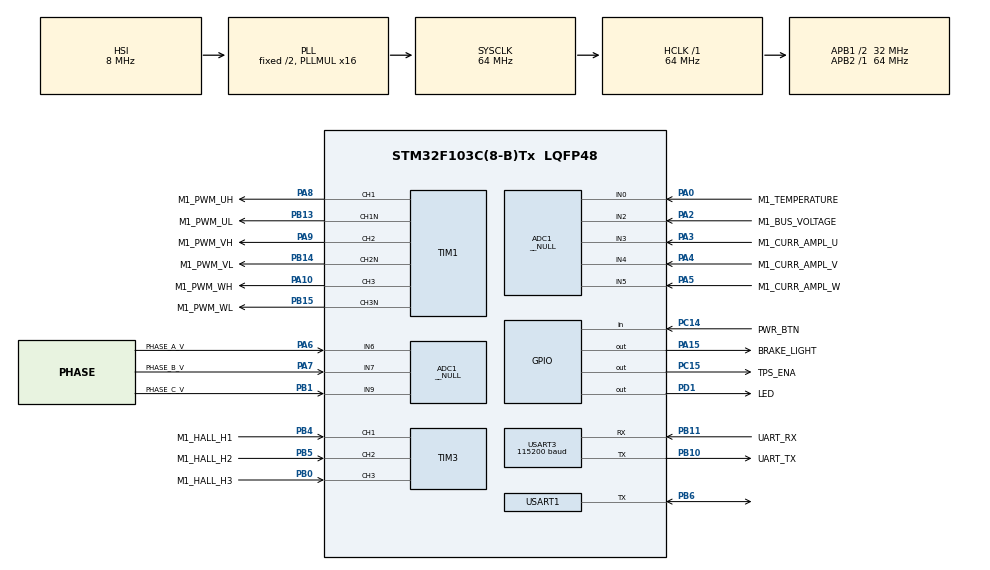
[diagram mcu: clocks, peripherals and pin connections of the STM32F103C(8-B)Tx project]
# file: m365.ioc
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ADC1.Channel-1\#ChannelInjectedConversion=ADC_CHANNEL_3
ADC1.Channel-1\#ChannelRegularConversion=ADC_CHANNEL_2
ADC1.Channel-2\#ChannelInjectedConversion=ADC_CHANNEL_4
ADC1.Channel-2\#ChannelRegularConversion=ADC_CHANNEL_0
ADC1.Channel-3\#ChannelInjectedConversion=ADC_CHANNEL_5
ADC1.Channel-4\#ChannelRegularConversion=ADC_CHANNEL_6
ADC1.Channel-5\#ChannelRegularConversion=ADC_CHANNEL_7
ADC1.Channel-6\#ChannelRegularConversion=ADC_CHANNEL_9
ADC1.ContinuousConvMode=DISABLE
ADC1.DataAlign=ADC_DATAALIGN_LEFT
ADC1.DiscontinuousConvMode=DISABLE
ADC1.EnableAnalogWatchDog=false
ADC1.EnableInjectedConversion=ENABLE
ADC1.EnableRegularConversion=ENABLE
ADC1.ExternalTrigConv=ADC_SOFTWARE_START
ADC1.ExternalTrigInjecConv=ADC_EXTERNALTRIGINJECCONV_T1_CC4
ADC1.InjNumberOfConversion=3
ADC1.InjectedConvMode=Discontinuous
ADC1.InjectedOffset-1\#ChannelInjectedConversion=0
ADC1.InjectedOffset-2\#ChannelInjectedConversion=0
ADC1.InjectedOffset-3\#ChannelInjectedConversion=0
ADC1.Mode=__NULL
ADC1.NbrOfConversion=5
ADC1.NbrOfConversionFlag=1
ADC1.Rank-1\#ChannelRegularConversion=1
ADC1.Rank-2\#ChannelRegularConversion=2
ADC1.Rank-4\#ChannelRegularConversion=3
ADC1.Rank-5\#ChannelRegularConversion=4
ADC1.Rank-6\#ChannelRegularConversion=5
ADC1.SamplingTime-1\#ChannelInjectedConversion=ADC_SAMPLETIME_1CYCLE_5
ADC1.SamplingTime-1\#ChannelRegularConversion=ADC_SAMPLETIME_1CYCLE_5
ADC1.SamplingTime-2\#ChannelInjectedConversion=ADC_SAMPLETIME_1CYCLE_5
ADC1.SamplingTime-2\#ChannelRegularConversion=ADC_SAMPLETIME_1CYCLE_5
ADC1.SamplingTime-3\#ChannelInjectedConversion=ADC_SAMPLETIME_1CYCLE_5
ADC1.SamplingTime-4\#ChannelRegularConversion=ADC_SAMPLETIME_1CYCLE_5
ADC1.SamplingTime-5\#ChannelRegularConversion=ADC_SAMPLETIME_1CYCLE_5
ADC1.SamplingTime-6\#ChannelRegularConversion=ADC_SAMPLETIME_1CYCLE_5
ADC1.ScanConvMode=ADC_SCAN_ENABLE
ADC1.master=1
ADC2.Channel-1\#ChannelInjectedConversion=ADC_CHANNEL_3
ADC2.Channel-2\#ChannelInjectedConversion=ADC_CHANNEL_4
ADC2.Channel-3\#ChannelInjectedConversion=ADC_CHANNEL_5
ADC2.ContinuousConvMode=DISABLE
ADC2.DataAlign=ADC_DATAALIGN_LEFT
ADC2.DiscontinuousConvMode=DISABLE
ADC2.EnableAnalogWatchDog=false
ADC2.EnableInjectedConversion=ENABLE
ADC2.EnableRegularConversion=DISABLE
ADC2.ExternalTrigInjecConv=ADC_EXTERNALTRIGINJECCONV_T1_CC4
ADC2.ExternalTrigInjecConvEdge=ADC_EXTERNALTRIGINJECCONVEDGE_RISING
ADC2.InjNumberOfConversion=3
ADC2.InjectedConvMode=Discontinuous
ADC2.InjectedOffset-1\#ChannelInjectedConversion=0
ADC2.InjectedOffset-2\#ChannelInjectedConversion=0
ADC2.InjectedOffset-3\#ChannelInjectedConversion=0
ADC2.Mode=__NULL
ADC2.Rank-1\#ChannelInjectedConversion=1
ADC2.Rank-2\#ChannelInjectedConversion=2
ADC2.Rank-3\#ChannelInjectedConversion=3
ADC2.SamplingTime-1\#ChannelInjectedConversion=ADC_SAMPLETIME_1CYCLE_5
ADC2.SamplingTime-2\#ChannelInjectedConversion=ADC_SAMPLETIME_1CYCLE_5
ADC2.SamplingTime-3\#ChannelInjectedConversion=ADC_SAMPLETIME_1CYCLE_5
ADC2.ScanConvMode=ADC_SCAN_ENABLE
Dma.ADC1.0.Direction=DMA_PERIPH_TO_MEMORY
Dma.ADC1.0.Instance=DMA1_Channel1
Dma.ADC1.0.MemDataAlignment=DMA_MDATAALIGN_HALFWORD
Dma.ADC1.0.MemInc=DMA_MINC_DISABLE
Dma.ADC1.0.Mode=DMA_CIRCULAR
Dma.ADC1.0.PeriphDataAlignment=DMA_PDATAALIGN_HALFWORD
Dma.ADC1.0.PeriphInc=DMA_PINC_DISABLE
Dma.ADC1.0.Priority=DMA_PRIORITY_LOW
Dma.Request0=ADC1
Dma.Request1=USART1_TX
Dma.Request2=USART1_RX
Dma.Request3=USART3_RX
Dma.Request4=USART3_TX
Dma.USART1_RX.2.Direction=DMA_PERIPH_TO_MEMORY
Dma.USART1_RX.2.Instance=DMA1_Channel5
Dma.USART1_RX.2.MemDataAlignment=DMA_MDATAALIGN_BYTE
Dma.USART1_RX.2.MemInc=DMA_MINC_ENABLE
Dma.USART1_RX.2.Mode=DMA_CIRCULAR
Dma.USART1_RX.2.PeriphDataAlignment=DMA_PDATAALIGN_BYTE
Dma.USART1_RX.2.PeriphInc=DMA_PINC_DISABLE
Dma.USART1_RX.2.Priority=DMA_PRIORITY_LOW
Dma.USART1_TX.1.Direction=DMA_MEMORY_TO_PERIPH
Dma.USART1_TX.1.Instance=DMA1_Channel4
Dma.USART1_TX.1.MemDataAlignment=DMA_MDATAALIGN_BYTE
Dma.USART1_TX.1.MemInc=DMA_MINC_ENABLE
Dma.USART1_TX.1.Mode=DMA_NORMAL
Dma.USART1_TX.1.PeriphDataAlignment=DMA_PDATAALIGN_BYTE
Dma.USART1_TX.1.PeriphInc=DMA_PINC_DISABLE
Dma.USART1_TX.1.Priority=DMA_PRIORITY_LOW
Dma.USART3_RX.3.Direction=DMA_PERIPH_TO_MEMORY
Dma.USART3_RX.3.Instance=DMA1_Channel3
Dma.USART3_RX.3.MemDataAlignment=DMA_MDATAALIGN_BYTE
Dma.USART3_RX.3.MemInc=DMA_MINC_ENABLE
Dma.USART3_RX.3.Mode=DMA_CIRCULAR
Dma.USART3_RX.3.PeriphDataAlignment=DMA_PDATAALIGN_BYTE
Dma.USART3_RX.3.PeriphInc=DMA_PINC_DISABLE
Dma.USART3_RX.3.Priority=DMA_PRIORITY_LOW
Dma.USART3_TX.4.Direction=DMA_MEMORY_TO_PERIPH
Dma.USART3_TX.4.Instance=DMA1_Channel2
Dma.USART3_TX.4.MemDataAlignment=DMA_MDATAALIGN_BYTE
Dma.USART3_TX.4.MemInc=DMA_MINC_ENABLE
Dma.USART3_TX.4.Mode=DMA_NORMAL
Dma.USART3_TX.4.PeriphDataAlignment=DMA_PDATAALIGN_BYTE
Dma.USART3_TX.4.PeriphInc=DMA_PINC_DISABLE
Dma.USART3_TX.4.Priority=DMA_PRIORITY_LOW
Mcu.Family=STM32F1
Mcu.Name=STM32F103C(8-B)Tx
Mcu.Package=LQFP48
NVIC.ADC1_2_IRQn=true\:2\:0\:true\:true\:false\:1\:true\:true
NVIC.DMA1_Channel1_IRQn=true\:0\:0\:true\:true\:false\:4\:true\:true
NVIC.DMA1_Channel2_IRQn=true\:5\:0\:true\:false\:true\:false\:true
NVIC.DMA1_Channel3_IRQn=true\:5\:0\:true\:false\:true\:false\:true
NVIC.DMA1_Channel4_IRQn=true\:5\:0\:true\:false\:true\:false\:true
NVIC.DMA1_Channel5_IRQn=true\:5\:0\:true\:false\:true\:false\:true
NVIC.PriorityGroup=NVIC_PRIORITYGROUP_4
NVIC.TIM1_BRK_IRQn=true\:4\:0\:true\:true\:false\:3\:true\:true
NVIC.TIM1_UP_IRQn=true\:0\:0\:true\:true\:false\:2\:true\:true
NVIC.TIM3_IRQn=true\:3\:0\:true\:true\:false\:5\:true\:true
NVIC.TIM4_IRQn=true\:15\:0\:false\:false\:true\:false\:true
NVIC.TimeBase=TIM4_IRQn
NVIC.TimeBaseIP=TIM4
PA0-WKUP.GPIO_Label=M1_TEMPERATURE
PA0-WKUP.Signal=ADCx_IN0
PA10.GPIO_Label=M1_PWM_WH
PA10.GPIO_PuPd=GPIO_PULLDOWN
PA10.GPIO_Speed=GPIO_SPEED_FREQ_HIGH
PA10.Signal=S_TIM1_CH3
PA13.Mode=Serial_Wire
PA13.Signal=SYS_JTMS-SWDIO
PA14.Mode=Serial_Wire
PA14.Signal=SYS_JTCK-SWCLK
PA15.GPIO_Label=BRAKE_LIGHT
PA15.GPIO_ModeDefaultOutputPP=GPIO_MODE_OUTPUT_OD
PA15.Signal=GPIO_Output
PA2.GPIO_Label=M1_BUS_VOLTAGE
PA2.Signal=ADCx_IN2
PA3.GPIO_Label=M1_CURR_AMPL_U
PA3.Signal=SharedAnalog_PA3
PA4.GPIO_Label=M1_CURR_AMPL_V
PA4.Signal=SharedAnalog_PA4
PA5.GPIO_Label=M1_CURR_AMPL_W
PA5.Signal=SharedAnalog_PA5
PA6.GPIO_Label=PHASE_A_V
PA6.Signal=ADCx_IN6
PA7.GPIO_Label=PHASE_B_V
PA7.Signal=ADCx_IN7
PA8.GPIO_Label=M1_PWM_UH
PA8.GPIO_PuPd=GPIO_PULLDOWN
PA8.GPIO_Speed=GPIO_SPEED_FREQ_HIGH
PA8.Signal=S_TIM1_CH1
PA9.GPIO_Label=M1_PWM_VH
PA9.GPIO_PuPd=GPIO_PULLDOWN
PA9.GPIO_Speed=GPIO_SPEED_FREQ_HIGH
PA9.Signal=S_TIM1_CH2
PB0.GPIO_Label=M1_HALL_H3
PB0.GPIO_Speed=GPIO_SPEED_FREQ_HIGH
PB0.Signal=S_TIM3_CH3
PB1.GPIO_Label=PHASE_C_V
PB1.Signal=ADCx_IN9
PB10.GPIO_Label=UART_TX
PB10.GPIO_Mode=GPIO_MODE_AF_PP
PB10.GPIO_PuPd=GPIO_NOPULL
PB10.GPIO_Speed=GPIO_SPEED_FREQ_LOW
PB10.Mode=Asynchronous
PB10.Signal=USART3_TX
PB11.GPIO_Label=UART_RX
PB11.GPIO_Mode=GPIO_MODE_INPUT
PB11.GPIO_PuPd=GPIO_NOPULL
PB11.GPIO_Speed=GPIO_SPEED_FREQ_LOW
PB11.Mode=Asynchronous
PB11.Signal=USART3_RX
PB13.GPIO_Label=M1_PWM_UL
PB13.GPIO_PuPd=GPIO_PULLDOWN
PB13.GPIO_Speed=GPIO_SPEED_FREQ_HIGH
PB13.Mode=PWM Generation1 CH1 CH1N
PB13.Signal=TIM1_CH1N
PB14.GPIO_Label=M1_PWM_VL
PB14.GPIO_PuPd=GPIO_PULLDOWN
PB14.GPIO_Speed=GPIO_SPEED_FREQ_HIGH
PB14.Mode=PWM Generation2 CH2 CH2N
PB14.Signal=TIM1_CH2N
PB15.GPIO_Label=M1_PWM_WL
PB15.GPIO_PuPd=GPIO_PULLDOWN
PB15.GPIO_Speed=GPIO_SPEED_FREQ_HIGH
PB15.Mode=PWM Generation3 CH3 CH3N
PB15.Signal=TIM1_CH3N
PB4.GPIO_Label=M1_HALL_H1
PB4.GPIO_Speed=GPIO_SPEED_FREQ_HIGH
PB4.Signal=S_TIM3_CH1
PB5.GPIO_Label=M1_HALL_H2
PB5.GPIO_Speed=GPIO_SPEED_FREQ_HIGH
PB5.Signal=S_TIM3_CH2
PB6.Mode=Half_duplex(single_wire_mode)
PB6.Signal=USART1_TX
PC14-OSC32_IN.GPIO_Label=PWR_BTN
PC14-OSC32_IN.Signal=GPIO_Input
PC15-OSC32_OUT.GPIO_Label=TPS_ENA
PC15-OSC32_OUT.PinState=GPIO_PIN_SET
PC15-OSC32_OUT.Signal=GPIO_Output
PD1-OSC_OUT.GPIO_Label=LED
PD1-OSC_OUT.Signal=GPIO_Output
ProjectManager.HeapSize=0x200
ProjectManager.StackSize=0x400
ProjectManager.TargetToolchain=STM32CubeIDE
RCC.ADCPresc=RCC_ADCPCLK2_DIV6
RCC.AHBFreq_Value=64000000
RCC.APB1CLKDivider=RCC_HCLK_DIV2
RCC.APB1Freq_Value=32000000
RCC.APB1TimFreq_Value=64000000
RCC.APB2Freq_Value=64000000
RCC.APB2TimFreq_Value=64000000
RCC.EnbaleCSS=true
RCC.HCLKFreq_Value=64000000
RCC.PLLMUL=RCC_PLL_MUL16
RCC.RTCClockSelection=RCC_RTCCLKSOURCE_LSI
RCC.SYSCLKFreq_VALUE=64000000
RCC.SYSCLKSource=RCC_SYSCLKSOURCE_PLLCLK
RCC.USBFreq_Value=64000000
SH.ADCx_IN0.0=ADC1_IN0,IN0
SH.ADCx_IN2.0=ADC1_IN2,IN2
SH.ADCx_IN6.0=ADC1_IN6,IN6
SH.ADCx_IN7.0=ADC1_IN7,IN7
SH.ADCx_IN9.0=ADC1_IN9,IN9
SH.S_TIM1_CH1.0=TIM1_CH1,PWM Generation1 CH1 CH1N
SH.S_TIM1_CH2.0=TIM1_CH2,PWM Generation2 CH2 CH2N
SH.S_TIM1_CH3.0=TIM1_CH3,PWM Generation3 CH3 CH3N
SH.S_TIM3_CH1.0=TIM3_CH1,Xored_Inputs_Hall_Sensor_Interface
SH.S_TIM3_CH2.0=TIM3_CH2,Xored_Inputs_Hall_Sensor_Interface
SH.S_TIM3_CH3.0=TIM3_CH3,Xored_Inputs_Hall_Sensor_Interface
SH.SharedAnalog_PA3.0=ADC1_IN3,IN3
SH.SharedAnalog_PA3.1=ADC2_IN3,IN3
SH.SharedAnalog_PA4.0=ADC1_IN4,IN4
SH.SharedAnalog_PA4.1=ADC2_IN4,IN4
SH.SharedAnalog_PA5.0=ADC1_IN5,IN5
SH.SharedAnalog_PA5.1=ADC2_IN5,IN5
TIM1.AutomaticOutput=TIM_AUTOMATICOUTPUT_DISABLE
TIM1.BreakPolarity=TIM_BREAKPOLARITY_LOW
TIM1.BreakState=TIM_BREAK_DISABLE
TIM1.Channel-PWM\ Generation1\ CH1\ CH1N=TIM_CHANNEL_1
TIM1.Channel-PWM\ Generation2\ CH2\ CH2N=TIM_CHANNEL_2
TIM1.Channel-PWM\ Generation3\ CH3\ CH3N=TIM_CHANNEL_3
TIM1.Channel-PWM\ Generation4\ No\ Output=TIM_CHANNEL_4
TIM1.ClockDivision=TIM_CLOCKDIVISION_DIV2
TIM1.CounterMode=TIM_COUNTERMODE_CENTERALIGNED1
TIM1.DeadTime=((DEAD_TIME_COUNTS) / 2)
TIM1.LockLevel=TIM_LOCKLEVEL_1
TIM1.OCIdleState_1=TIM_OCIDLESTATE_RESET
TIM1.OCIdleState_2=TIM_OCIDLESTATE_RESET
TIM1.OCIdleState_3=TIM_OCIDLESTATE_RESET
TIM1.OCMode_PWM-PWM\ Generation4\ No\ Output=TIM_OCMODE_PWM2
TIM1.OCNIdleState_1=TIM_OCNIDLESTATE_RESET
TIM1.OCNIdleState_2=TIM_OCNIDLESTATE_RESET
TIM1.OCNIdleState_3=TIM_OCNIDLESTATE_RESET
TIM1.OCNPolarity_1=TIM_OCNPOLARITY_HIGH
TIM1.OCNPolarity_2=TIM_OCNPOLARITY_HIGH
TIM1.OCNPolarity_3=TIM_OCNPOLARITY_HIGH
TIM1.OCPolarity_1=TIM_OCPOLARITY_HIGH
TIM1.OCPolarity_2=TIM_OCPOLARITY_HIGH
TIM1.OCPolarity_3=TIM_OCPOLARITY_HIGH
TIM1.OffStateIDLEMode=TIM_OSSI_ENABLE
TIM1.OffStateRunMode=TIM_OSSR_ENABLE
TIM1.Period=((PWM_PERIOD_CYCLES) / 2)
TIM1.Prescaler=((TIM_CLOCK_DIVIDER) - 1)
TIM1.Pulse-PWM\ Generation1\ CH1=((PWM_PERIOD_CYCLES) / 4)
TIM1.Pulse-PWM\ Generation2\ CH2=((PWM_PERIOD_CYCLES) / 4)
TIM1.Pulse-PWM\ Generation3\ CH3=((PWM_PERIOD_CYCLES) / 4)
TIM1.Pulse-PWM\ Generation4\ No\ Output=(((PWM_PERIOD_CYCLES) / 2) - (HTMIN))
TIM1.RepetitionCounter=(REP_COUNTER)
TIM1.TIM_MasterOutputTrigger=TIM_TRGO_RESET
TIM1.TIM_MasterSlaveMode=TIM_MASTERSLAVEMODE_DISABLE
TIM3.IC1Filter=M1_HALL_IC_FILTER
TIM3.Period=M1_HALL_TIM_PERIOD
USART1.VirtualMode=VM_ASYNC
USART3.BaudRate=115200
USART3.VirtualMode=VM_ASYNC
USART3.VirtualMode-Asynchronous=VM_ASYNC
USART3.WordLength=WORDLENGTH_8B
VP_SYS_VS_tim4.Mode=TIM4
VP_TIM1_VS_ClockSourceITR.Mode=TriggerSource_ITR1
VP_TIM1_VS_ControllerModeTrigger.Mode=Trigger Mode
VP_TIM1_VS_no_output4.Mode=PWM Generation4 No Output
VP_TIM3_VS_ClockSourceINT.Mode=Internal
board=custom

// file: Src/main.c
/* USER CODE BEGIN Header */
/**
  ******************************************************************************
  * @file           : main.c
  * @brief          : Main program body
  ******************************************************************************
  * @attention
  *
  * <h2><center>&copy; Copyright (c) 2021 STMicroelectronics.
  * All rights reserved.</center></h2>
  *
  * This software component is licensed by ST under Ultimate Liberty license
  * SLA0044, the "License"; You may not use this file except in compliance with
  * the License. You may obtain a copy of the License at:
  *                             www.st.com/SLA0044
  *
  ******************************************************************************
  */
/* USER CODE END Header */
#include "main.h"

/* USER CODE BEGIN Includes */
#include "cmsis_os.h"
#include "FreeRTOS.h"
#include "task.h"
#include "task_init.h"
#include "motorcontrol.h"
#include "conf_general.h"
#include "app.h"
#include "product.h"

/* USER CODE END Includes */

ADC_HandleTypeDef hadc1;
ADC_HandleTypeDef hadc2;
DMA_HandleTypeDef hdma_adc1;

TIM_HandleTypeDef htim1;
TIM_HandleTypeDef htim3;

UART_HandleTypeDef huart1;
UART_HandleTypeDef huart3;
DMA_HandleTypeDef hdma_usart1_tx;
DMA_HandleTypeDef hdma_usart1_rx;
DMA_HandleTypeDef hdma_usart3_rx;
DMA_HandleTypeDef hdma_usart3_tx;

/* USER CODE BEGIN PV */
/* Definitions for mediumFrequency */

/* USER CODE END PV */

void SystemClock_Config(void);
static void MX_GPIO_Init(void);
static void MX_DMA_Init(void);
static void MX_ADC1_Init(void);
static void MX_ADC2_Init(void);
static void MX_TIM1_Init(void);
static void MX_TIM3_Init(void);
static void MX_USART3_UART_Init(void);
static void MX_USART1_UART_Init(void);
static void MX_NVIC_Init(void);
/* USER CODE BEGIN PFP */
void startMediumFrequencyTask(void *argument);
extern void StartSafetyTask(void *argument);

/* USER CODE END PFP */

int main(void)
{

  /* MCU Configuration--------------------------------------------------------*/

  /* Reset of all peripherals, Initializes the Flash interface and the Systick. */
  HAL_Init();

  /* Configure the system clock */
  SystemClock_Config();

  /* Initialize all configured peripherals */
  MX_GPIO_Init();
  MX_DMA_Init();
  MX_ADC1_Init();
  MX_ADC2_Init();
  MX_TIM1_Init();
  MX_TIM3_Init();
  MX_USART3_UART_Init();
  MX_USART1_UART_Init();

  /* Initialize interrupts */
  MX_NVIC_Init();
  /* USER CODE BEGIN 2 */

  HAL_ADCEx_Calibration_Start(&hadc1);
  HAL_ADCEx_Calibration_Start(&hadc2);

  MX_MotorControl_Init();
  HAL_Delay(100);

  conf_general_init();

  //osKernelInitialize();

  /* USER CODE BEGIN RTOS_MUTEX */
  /* add mutexes, ... */
  HAL_GPIO_WritePin(TPS_ENA_GPIO_Port, TPS_ENA_Pin, GPIO_PIN_SET);
  /* USER CODE END RTOS_MUTEX */

  /* USER CODE BEGIN RTOS_SEMAPHORES */
  /* add semaphores, ... */
  /* USER CODE END RTOS_SEMAPHORES */

  /* USER CODE BEGIN RTOS_TIMERS */
  /* start timers, add new ones, ... */
  /* USER CODE END RTOS_TIMERS */

  /* USER CODE BEGIN RTOS_QUEUES */
  /* add queues, ... */
  /* USER CODE END RTOS_QUEUES */

  /* Create the thread(s) */
  /* USER CODE BEGIN RTOS_THREADS */
  /* add threads, ... */
  TaskHandle_t mediumFrequencyHandle;

  TaskHandle_t safetyHandle;

  xTaskCreate(startMediumFrequencyTask, "medTSK", 128, NULL, PRIO_NORMAL, &mediumFrequencyHandle);
  xTaskCreate(StartSafetyTask, "safety", 128, NULL, PRIO_HIGHER, &safetyHandle);

  task_init(); //bring up user tasks
  HAL_GPIO_WritePin(TPS_ENA_GPIO_Port, TPS_ENA_Pin, GPIO_PIN_SET);

  /* USER CODE END RTOS_THREADS */

  /* USER CODE BEGIN RTOS_EVENTS */
  /* add events, ... */
  /* USER CODE END RTOS_EVENTS */

  /* Start scheduler */
  vTaskStartScheduler();

  /* We should never ge*/

  /* USER CODE END 2 */

  /* Infinite loop */
  /* USER CODE BEGIN WHILE */
  vTaskSwitchContext();
  while (1)
  {
    /* USER CODE END WHILE */

  }
}

void SystemClock_Config(void)
{
  RCC_OscInitTypeDef RCC_OscInitStruct = {0};
  RCC_ClkInitTypeDef RCC_ClkInitStruct = {0};
  RCC_PeriphCLKInitTypeDef PeriphClkInit = {0};

  /** Initializes the RCC Oscillators according to the specified parameters
  * in the RCC_OscInitTypeDef structure.
  */
  RCC_OscInitStruct.OscillatorType = RCC_OSCILLATORTYPE_HSI;
  RCC_OscInitStruct.HSIState = RCC_HSI_ON;
  RCC_OscInitStruct.HSICalibrationValue = RCC_HSICALIBRATION_DEFAULT;
  RCC_OscInitStruct.PLL.PLLState = RCC_PLL_ON;
  RCC_OscInitStruct.PLL.PLLSource = RCC_PLLSOURCE_HSI_DIV2;
  RCC_OscInitStruct.PLL.PLLMUL = RCC_PLL_MUL16;
  if (HAL_RCC_OscConfig(&RCC_OscInitStruct) != HAL_OK)
  {
    Error_Handler();
  }
  /** Initializes the CPU, AHB and APB buses clocks
  */
  RCC_ClkInitStruct.ClockType = RCC_CLOCKTYPE_HCLK|RCC_CLOCKTYPE_SYSCLK
                              |RCC_CLOCKTYPE_PCLK1|RCC_CLOCKTYPE_PCLK2;
  RCC_ClkInitStruct.SYSCLKSource = RCC_SYSCLKSOURCE_PLLCLK;
  RCC_ClkInitStruct.AHBCLKDivider = RCC_SYSCLK_DIV1;
  RCC_ClkInitStruct.APB1CLKDivider = RCC_HCLK_DIV2;
  RCC_ClkInitStruct.APB2CLKDivider = RCC_HCLK_DIV1;

  if (HAL_RCC_ClockConfig(&RCC_ClkInitStruct, FLASH_LATENCY_2) != HAL_OK)
  {
    Error_Handler();
  }
  PeriphClkInit.PeriphClockSelection = RCC_PERIPHCLK_ADC;
  PeriphClkInit.AdcClockSelection = RCC_ADCPCLK2_DIV6;
  if (HAL_RCCEx_PeriphCLKConfig(&PeriphClkInit) != HAL_OK)
  {
    Error_Handler();
  }
  /** Enables the Clock Security System
  */
  HAL_RCC_EnableCSS();
}

/**
  * @brief NVIC Configuration.
  * @retval None
  */
static void MX_NVIC_Init(void)
{
  /* ADC1_2_IRQn interrupt configuration */
  HAL_NVIC_SetPriority(ADC1_2_IRQn, 2, 0);
  HAL_NVIC_EnableIRQ(ADC1_2_IRQn);
  /* TIM1_UP_IRQn interrupt configuration */
  HAL_NVIC_SetPriority(TIM1_UP_IRQn, 0, 0);
  HAL_NVIC_EnableIRQ(TIM1_UP_IRQn);
  /* TIM1_BRK_IRQn interrupt configuration */
  HAL_NVIC_SetPriority(TIM1_BRK_IRQn, 4, 0);
  HAL_NVIC_EnableIRQ(TIM1_BRK_IRQn);
  /* DMA1_Channel1_IRQn interrupt configuration */
  HAL_NVIC_SetPriority(DMA1_Channel1_IRQn, 0, 0);
  HAL_NVIC_EnableIRQ(DMA1_Channel1_IRQn);
  /* TIM3_IRQn interrupt configuration */
  HAL_NVIC_SetPriority(TIM3_IRQn, 3, 0);
  HAL_NVIC_EnableIRQ(TIM3_IRQn);
}

static void MX_ADC1_Init(void)
{

  ADC_InjectionConfTypeDef sConfigInjected = {0};
  ADC_ChannelConfTypeDef sConfig = {0};

  /** Common config
  */
  hadc1.Instance = ADC1;
  hadc1.Init.ScanConvMode = ADC_SCAN_ENABLE;
  hadc1.Init.ContinuousConvMode = DISABLE;
  hadc1.Init.DiscontinuousConvMode = DISABLE;
  hadc1.Init.ExternalTrigConv = ADC_SOFTWARE_START;
  hadc1.Init.DataAlign = ADC_DATAALIGN_LEFT;
  hadc1.Init.NbrOfConversion = 5;
  if (HAL_ADC_Init(&hadc1) != HAL_OK)
  {
    Error_Handler();
  }
  /** Configure Injected Channel
  */
  sConfigInjected.InjectedChannel = ADC_CHANNEL_3;
  sConfigInjected.InjectedRank = ADC_INJECTED_RANK_1;
  sConfigInjected.InjectedNbrOfConversion = 3;
  sConfigInjected.InjectedSamplingTime = ADC_SAMPLETIME_1CYCLE_5;
  sConfigInjected.ExternalTrigInjecConv = ADC_EXTERNALTRIGINJECCONV_T1_CC4;
  sConfigInjected.AutoInjectedConv = DISABLE;
  sConfigInjected.InjectedDiscontinuousConvMode = ENABLE;
  sConfigInjected.InjectedOffset = 0;
  if (HAL_ADCEx_InjectedConfigChannel(&hadc1, &sConfigInjected) != HAL_OK)
  {
    Error_Handler();
  }
  /** Configure Injected Channel
  */
  sConfigInjected.InjectedChannel = ADC_CHANNEL_4;
  if (HAL_ADCEx_InjectedConfigChannel(&hadc1, &sConfigInjected) != HAL_OK)
  {
    Error_Handler();
  }
  /** Configure Injected Channel
  */
  sConfigInjected.InjectedChannel = ADC_CHANNEL_5;
  if (HAL_ADCEx_InjectedConfigChannel(&hadc1, &sConfigInjected) != HAL_OK)
  {
    Error_Handler();
  }
  /** Configure Regular Channel
  */
  sConfig.Channel = ADC_CHANNEL_2;
  sConfig.Rank = ADC_REGULAR_RANK_1;
  sConfig.SamplingTime = ADC_SAMPLETIME_1CYCLE_5;
  if (HAL_ADC_ConfigChannel(&hadc1, &sConfig) != HAL_OK)
  {
    Error_Handler();
  }
  /** Configure Regular Channel
  */
  sConfig.Channel = ADC_CHANNEL_0;
  sConfig.Rank = ADC_REGULAR_RANK_2;
  if (HAL_ADC_ConfigChannel(&hadc1, &sConfig) != HAL_OK)
  {
    Error_Handler();
  }
  /** Configure Regular Channel
  */
  sConfig.Channel = ADC_CHANNEL_6;
  sConfig.Rank = ADC_REGULAR_RANK_3;
  if (HAL_ADC_ConfigChannel(&hadc1, &sConfig) != HAL_OK)
  {
    Error_Handler();
  }
  /** Configure Regular Channel
  */
  sConfig.Channel = ADC_CHANNEL_7;
  sConfig.Rank = ADC_REGULAR_RANK_4;
  if (HAL_ADC_ConfigChannel(&hadc1, &sConfig) != HAL_OK)
  {
    Error_Handler();
  }
  /** Configure Regular Channel
  */
  sConfig.Channel = ADC_CHANNEL_9;
  sConfig.Rank = ADC_REGULAR_RANK_5;
  if (HAL_ADC_ConfigChannel(&hadc1, &sConfig) != HAL_OK)
  {
    Error_Handler();
  }

}

static void MX_ADC2_Init(void)
{

  ADC_InjectionConfTypeDef sConfigInjected = {0};

  /** Common config
  */
  hadc2.Instance = ADC2;
  hadc2.Init.ScanConvMode = ADC_SCAN_ENABLE;
  hadc2.Init.ContinuousConvMode = DISABLE;
  hadc2.Init.DiscontinuousConvMode = DISABLE;
  hadc2.Init.ExternalTrigConv = ADC_SOFTWARE_START;
  hadc2.Init.DataAlign = ADC_DATAALIGN_LEFT;
  hadc2.Init.NbrOfConversion = 1;
  if (HAL_ADC_Init(&hadc2) != HAL_OK)
  {
    Error_Handler();
  }
  /** Configure Injected Channel
  */
  sConfigInjected.InjectedChannel = ADC_CHANNEL_3;
  sConfigInjected.InjectedRank = 1;
  sConfigInjected.InjectedNbrOfConversion = 3;
  sConfigInjected.InjectedSamplingTime = ADC_SAMPLETIME_1CYCLE_5;
  sConfigInjected.ExternalTrigInjecConv = ADC_EXTERNALTRIGINJECCONV_T1_CC4;
  sConfigInjected.AutoInjectedConv = DISABLE;
  sConfigInjected.InjectedDiscontinuousConvMode = ENABLE;
  sConfigInjected.InjectedOffset = 0;
  if (HAL_ADCEx_InjectedConfigChannel(&hadc2, &sConfigInjected) != HAL_OK)
  {
    Error_Handler();
  }
  /** Configure Injected Channel
  */
  sConfigInjected.InjectedChannel = ADC_CHANNEL_4;
  sConfigInjected.InjectedRank = 2;
  if (HAL_ADCEx_InjectedConfigChannel(&hadc2, &sConfigInjected) != HAL_OK)
  {
    Error_Handler();
  }
  /** Configure Injected Channel
  */
  sConfigInjected.InjectedChannel = ADC_CHANNEL_5;
  sConfigInjected.InjectedRank = 3;
  if (HAL_ADCEx_InjectedConfigChannel(&hadc2, &sConfigInjected) != HAL_OK)
  {
    Error_Handler();
  }

}

static void MX_TIM1_Init(void)
{

  TIM_SlaveConfigTypeDef sSlaveConfig = {0};
  TIM_MasterConfigTypeDef sMasterConfig = {0};
  TIM_OC_InitTypeDef sConfigOC = {0};
  TIM_BreakDeadTimeConfigTypeDef sBreakDeadTimeConfig = {0};

  htim1.Instance = TIM1;
  htim1.Init.Prescaler = ((TIM_CLOCK_DIVIDER) - 1);
  htim1.Init.CounterMode = TIM_COUNTERMODE_CENTERALIGNED1;
  htim1.Init.Period = ((PWM_PERIOD_CYCLES) / 2);
  htim1.Init.ClockDivision = TIM_CLOCKDIVISION_DIV2;
  htim1.Init.RepetitionCounter = (REP_COUNTER);
  htim1.Init.AutoReloadPreload = TIM_AUTORELOAD_PRELOAD_DISABLE;
  if (HAL_TIM_Base_Init(&htim1) != HAL_OK)
  {
    Error_Handler();
  }
  if (HAL_TIM_PWM_Init(&htim1) != HAL_OK)
  {
    Error_Handler();
  }
  sSlaveConfig.SlaveMode = TIM_SLAVEMODE_TRIGGER;
  sSlaveConfig.InputTrigger = TIM_TS_ITR1;
  if (HAL_TIM_SlaveConfigSynchro(&htim1, &sSlaveConfig) != HAL_OK)
  {
    Error_Handler();
  }
  sMasterConfig.MasterOutputTrigger = TIM_TRGO_RESET;
  sMasterConfig.MasterSlaveMode = TIM_MASTERSLAVEMODE_DISABLE;
  if (HAL_TIMEx_MasterConfigSynchronization(&htim1, &sMasterConfig) != HAL_OK)
  {
    Error_Handler();
  }
  sConfigOC.OCMode = TIM_OCMODE_PWM1;
  sConfigOC.Pulse = 0;
  sConfigOC.OCPolarity = TIM_OCPOLARITY_HIGH;
  sConfigOC.OCNPolarity = TIM_OCNPOLARITY_HIGH;
  sConfigOC.OCFastMode = TIM_OCFAST_DISABLE;
  sConfigOC.OCIdleState = TIM_OCIDLESTATE_RESET;
  sConfigOC.OCNIdleState = TIM_OCNIDLESTATE_RESET;
  if (HAL_TIM_PWM_ConfigChannel(&htim1, &sConfigOC, TIM_CHANNEL_1) != HAL_OK)
  {
    Error_Handler();
  }
  if (HAL_TIM_PWM_ConfigChannel(&htim1, &sConfigOC, TIM_CHANNEL_2) != HAL_OK)
  {
    Error_Handler();
  }
  if (HAL_TIM_PWM_ConfigChannel(&htim1, &sConfigOC, TIM_CHANNEL_3) != HAL_OK)
  {
    Error_Handler();
  }
  sConfigOC.OCMode = TIM_OCMODE_PWM2;
  sConfigOC.Pulse = (((PWM_PERIOD_CYCLES) / 2) - (HTMIN));
  if (HAL_TIM_PWM_ConfigChannel(&htim1, &sConfigOC, TIM_CHANNEL_4) != HAL_OK)
  {
    Error_Handler();
  }
  sBreakDeadTimeConfig.OffStateRunMode = TIM_OSSR_ENABLE;
  sBreakDeadTimeConfig.OffStateIDLEMode = TIM_OSSI_ENABLE;
  sBreakDeadTimeConfig.LockLevel = TIM_LOCKLEVEL_1;
  sBreakDeadTimeConfig.DeadTime = ((DEAD_TIME_COUNTS) / 2);
  sBreakDeadTimeConfig.BreakState = TIM_BREAK_DISABLE;
  sBreakDeadTimeConfig.BreakPolarity = TIM_BREAKPOLARITY_LOW;
  sBreakDeadTimeConfig.AutomaticOutput = TIM_AUTOMATICOUTPUT_DISABLE;
  if (HAL_TIMEx_ConfigBreakDeadTime(&htim1, &sBreakDeadTimeConfig) != HAL_OK)
  {
    Error_Handler();
  }
  HAL_TIM_MspPostInit(&htim1);

}

static void MX_TIM3_Init(void)
{

  TIM_ClockConfigTypeDef sClockSourceConfig = {0};
  TIM_HallSensor_InitTypeDef sConfig = {0};
  TIM_MasterConfigTypeDef sMasterConfig = {0};

  htim3.Instance = TIM3;
  htim3.Init.Prescaler = 0;
  htim3.Init.CounterMode = TIM_COUNTERMODE_UP;
  htim3.Init.Period = M1_HALL_TIM_PERIOD;
  htim3.Init.ClockDivision = TIM_CLOCKDIVISION_DIV1;
  htim3.Init.AutoReloadPreload = TIM_AUTORELOAD_PRELOAD_DISABLE;
  if (HAL_TIM_Base_Init(&htim3) != HAL_OK)
  {
    Error_Handler();
  }
  sClockSourceConfig.ClockSource = TIM_CLOCKSOURCE_INTERNAL;
  if (HAL_TIM_ConfigClockSource(&htim3, &sClockSourceConfig) != HAL_OK)
  {
    Error_Handler();
  }
  sConfig.IC1Polarity = TIM_ICPOLARITY_RISING;
  sConfig.IC1Prescaler = TIM_ICPSC_DIV1;
  sConfig.IC1Filter = M1_HALL_IC_FILTER;
  sConfig.Commutation_Delay = 0;
  if (HAL_TIMEx_HallSensor_Init(&htim3, &sConfig) != HAL_OK)
  {
    Error_Handler();
  }
  sMasterConfig.MasterOutputTrigger = TIM_TRGO_OC2REF;
  sMasterConfig.MasterSlaveMode = TIM_MASTERSLAVEMODE_DISABLE;
  if (HAL_TIMEx_MasterConfigSynchronization(&htim3, &sMasterConfig) != HAL_OK)
  {
    Error_Handler();
  }

}

static void MX_USART1_UART_Init(void)
{

  huart1.Instance = USART1;
  huart1.Init.BaudRate = 115200;
  huart1.Init.WordLength = UART_WORDLENGTH_8B;
  huart1.Init.StopBits = UART_STOPBITS_1;
  huart1.Init.Parity = UART_PARITY_NONE;
  huart1.Init.Mode = UART_MODE_TX_RX;
  huart1.Init.HwFlowCtl = UART_HWCONTROL_NONE;
  huart1.Init.OverSampling = UART_OVERSAMPLING_16;
  if (HAL_HalfDuplex_Init(&huart1) != HAL_OK)
  {
    Error_Handler();
  }

}

static void MX_USART3_UART_Init(void)
{

  huart3.Instance = USART3;
  huart3.Init.BaudRate = 115200;
  huart3.Init.WordLength = UART_WORDLENGTH_8B;
  huart3.Init.StopBits = UART_STOPBITS_1;
  huart3.Init.Parity = UART_PARITY_NONE;
  huart3.Init.Mode = UART_MODE_TX_RX;
  huart3.Init.HwFlowCtl = UART_HWCONTROL_NONE;
  huart3.Init.OverSampling = UART_OVERSAMPLING_16;
  if (HAL_UART_Init(&huart3) != HAL_OK)
  {
    Error_Handler();
  }

}

static void MX_DMA_Init(void)
{

  /* DMA controller clock enable */
  __HAL_RCC_DMA1_CLK_ENABLE();

  /* DMA interrupt init */
  /* DMA1_Channel2_IRQn interrupt configuration */
  HAL_NVIC_SetPriority(DMA1_Channel2_IRQn, 5, 0);
  HAL_NVIC_EnableIRQ(DMA1_Channel2_IRQn);
  /* DMA1_Channel3_IRQn interrupt configuration */
  HAL_NVIC_SetPriority(DMA1_Channel3_IRQn, 5, 0);
  HAL_NVIC_EnableIRQ(DMA1_Channel3_IRQn);
  /* DMA1_Channel4_IRQn interrupt configuration */
  HAL_NVIC_SetPriority(DMA1_Channel4_IRQn, 5, 0);
  HAL_NVIC_EnableIRQ(DMA1_Channel4_IRQn);
  /* DMA1_Channel5_IRQn interrupt configuration */
  HAL_NVIC_SetPriority(DMA1_Channel5_IRQn, 5, 0);
  HAL_NVIC_EnableIRQ(DMA1_Channel5_IRQn);

}

static void MX_GPIO_Init(void)
{
  GPIO_InitTypeDef GPIO_InitStruct = {0};

  /* GPIO Ports Clock Enable */
  __HAL_RCC_GPIOC_CLK_ENABLE();
  __HAL_RCC_GPIOD_CLK_ENABLE();
  __HAL_RCC_GPIOA_CLK_ENABLE();
  __HAL_RCC_GPIOB_CLK_ENABLE();

  /*Configure GPIO pin Output Level */
  HAL_GPIO_WritePin(TPS_ENA_GPIO_Port, TPS_ENA_Pin, GPIO_PIN_SET);

  /*Configure GPIO pin Output Level */
  HAL_GPIO_WritePin(LED_GPIO_Port, LED_Pin, GPIO_PIN_RESET);

  /*Configure GPIO pin Output Level */
  HAL_GPIO_WritePin(BRAKE_LIGHT_GPIO_Port, BRAKE_LIGHT_Pin, GPIO_PIN_RESET);

  /*Configure GPIO pin : PWR_BTN_Pin */
  GPIO_InitStruct.Pin = PWR_BTN_Pin;
  GPIO_InitStruct.Mode = GPIO_MODE_INPUT;
  GPIO_InitStruct.Pull = GPIO_NOPULL;
  HAL_GPIO_Init(PWR_BTN_GPIO_Port, &GPIO_InitStruct);

  /*Configure GPIO pin : TPS_ENA_Pin */
  GPIO_InitStruct.Pin = TPS_ENA_Pin;
  GPIO_InitStruct.Mode = GPIO_MODE_OUTPUT_PP;
  GPIO_InitStruct.Pull = GPIO_NOPULL;
  GPIO_InitStruct.Speed = GPIO_SPEED_FREQ_LOW;
  HAL_GPIO_Init(TPS_ENA_GPIO_Port, &GPIO_InitStruct);

  /*Configure GPIO pin : LED_Pin */
  GPIO_InitStruct.Pin = LED_Pin;
  GPIO_InitStruct.Mode = GPIO_MODE_OUTPUT_PP;
  GPIO_InitStruct.Pull = GPIO_NOPULL;
  GPIO_InitStruct.Speed = GPIO_SPEED_FREQ_LOW;
  HAL_GPIO_Init(LED_GPIO_Port, &GPIO_InitStruct);

  /*Configure GPIO pin : BRAKE_LIGHT_Pin */
  GPIO_InitStruct.Pin = BRAKE_LIGHT_Pin;
  GPIO_InitStruct.Mode = GPIO_MODE_OUTPUT_OD;
  GPIO_InitStruct.Pull = GPIO_NOPULL;
  GPIO_InitStruct.Speed = GPIO_SPEED_FREQ_LOW;
  HAL_GPIO_Init(BRAKE_LIGHT_GPIO_Port, &GPIO_InitStruct);

  /*Configure peripheral I/O remapping */
  __HAL_AFIO_REMAP_PD01_ENABLE();

}

/* USER CODE BEGIN 4 */
/* USER CODE BEGIN Header_startMediumFrequencyTask */
/**
  * @brief  Function implementing the mediumFrequency thread.
  * @param  argument: Not used
  * @retval None
  */
/* USER CODE END Header_startMediumFrequencyTask */

/* USER CODE END 4 */

void HAL_TIM_PeriodElapsedCallback(TIM_HandleTypeDef *htim)
{
  if (htim->Instance == TIM4) {
    HAL_IncTick();
  }
}

void Error_Handler(void)
{
  __disable_irq();
  while (1)
  {
  }
}

/************************ (C) COPYRIGHT STMicroelectronics *****END OF FILE****/

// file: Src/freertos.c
/* USER CODE BEGIN Header */
/**
  ******************************************************************************
  * File Name          : freertos.c
  * Description        : Code for freertos applications
  ******************************************************************************
  * @attention
  *
  * <h2><center>&copy; Copyright (c) 2021 STMicroelectronics.
  * All rights reserved.</center></h2>
  *
  * This software component is licensed by ST under Ultimate Liberty license
  * SLA0044, the "License"; You may not use this file except in compliance with
  * the License. You may obtain a copy of the License at:
  *                             www.st.com/SLA0044
  *
  ******************************************************************************
  */
/* USER CODE END Header */

#include "FreeRTOS.h"
#include "task.h"
#include "main.h"

/* Hook prototypes */
void configureTimerForRunTimeStats(void);
unsigned long getRunTimeCounterValue(void);

/* USER CODE BEGIN 1 */
/* Functions needed when configGENERATE_RUN_TIME_STATS is on */
__weak void configureTimerForRunTimeStats(void)
{

}

__weak unsigned long getRunTimeCounterValue(void)
{
return 0;
}
/* USER CODE END 1 */

/************************ (C) COPYRIGHT STMicroelectronics *****END OF FILE****/
